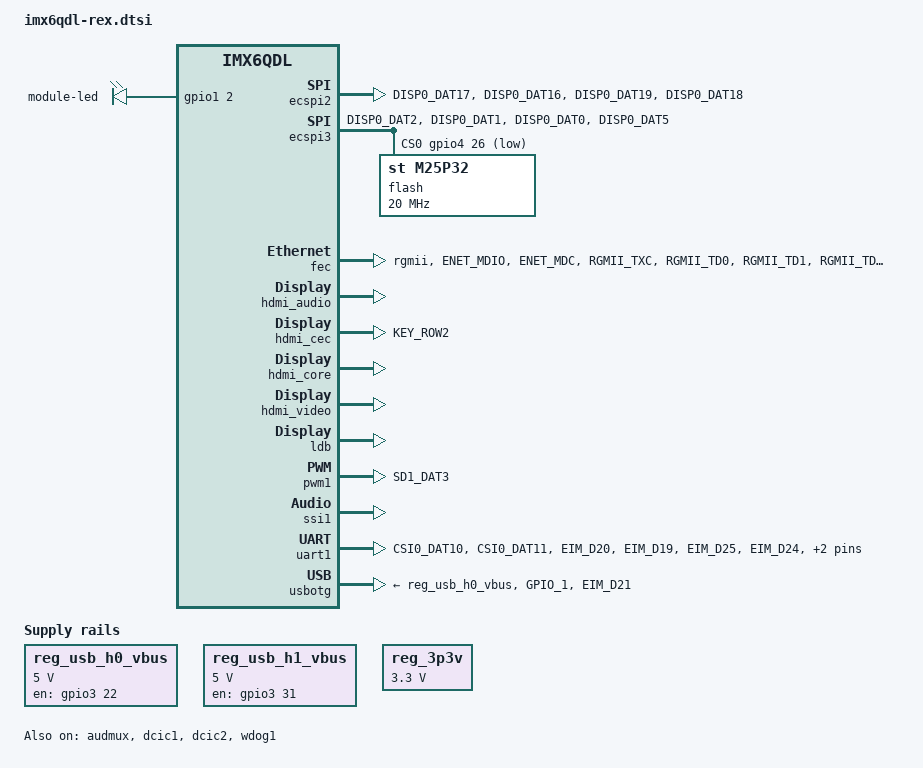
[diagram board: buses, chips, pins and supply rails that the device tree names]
/*
 * Copyright (C) 2015-2017 Voipac.
 *
 * The code contained herein is licensed under the GNU General Public
 * License. You may obtain a copy of the GNU General Public License
 * Version 2 or later at the following locations:
 *
 * http://www.opensource.org/licenses/gpl-license.html
 * http://www.gnu.org/copyleft/gpl.html
 */

#include <dt-bindings/gpio/gpio.h>
#include <dt-bindings/input/input.h>

/ {
	aliases {
		mxcfb0 = &mxcfb1;
		mxcfb1 = &mxcfb2;
		mxcfb2 = &mxcfb3;
		mxcfb3 = &mxcfb4;
	};

	chosen {
		stdout-path = &uart1;
	};

	leds {
		compatible = "gpio-leds";
		pinctrl-names = "default";
		pinctrl-0 = <&pinctrl_leds>;

		module-led {
			gpios = <&gpio1 2 GPIO_ACTIVE_HIGH>;
			linux,default-trigger = "heartbeat";
			retain-state-suspended;
		};
	};

	mxcfb1: fb@0 {
		compatible = "fsl,mxc_sdc_fb";
		disp_dev = "hdmi";
		interface_pix_fmt = "RGB24";
		mode_str ="1920x1080M@60";
		default_bpp = <24>;
		int_clk = <0>;
		late_init = <0>;
		status = "disabled";
	};

	mxcfb2: fb@1 {
		compatible = "fsl,mxc_sdc_fb";
		disp_dev = "ldb";
		interface_pix_fmt = "RGB666";
		default_bpp = <16>;
		int_clk = <0>;
		late_init = <0>;
		status = "disabled";
	};

	mxcfb3: fb@2 {
		compatible = "fsl,mxc_sdc_fb";
		disp_dev = "lcd";
		interface_pix_fmt = "RGB565";
		mode_str ="CLAA-WVGA";
		default_bpp = <16>;
		int_clk = <0>;
		late_init = <0>;
		status = "disabled";
	};

	mxcfb4: fb@3 {
		compatible = "fsl,mxc_sdc_fb";
		disp_dev = "ldb";
		interface_pix_fmt = "RGB666";
		default_bpp = <16>;
		int_clk = <0>;
		late_init = <0>;
		status = "disabled";
	};

	regulators {
		compatible = "simple-bus";
		#address-cells = <1>;
		#size-cells = <0>;

		reg_usb_h0_vbus: regulator@0 {
			compatible = "regulator-fixed";
			reg = <0>;
			regulator-name = "usb_otg_vbus";
			regulator-min-microvolt = <5000000>;
			regulator-max-microvolt = <5000000>;
			gpio = <&gpio3 22 GPIO_ACTIVE_HIGH>;
			enable-active-high;
		};

		reg_usb_h1_vbus: regulator@1 {
			compatible = "regulator-fixed";
			reg = <1>;
			regulator-name = "usb_h1_vbus";
			regulator-min-microvolt = <5000000>;
			regulator-max-microvolt = <5000000>;
			gpio = <&gpio3 31 GPIO_ACTIVE_HIGH>;
			enable-active-high;
		};

		reg_3p3v: 3p3v {
			compatible = "regulator-fixed";
			reg = <2>;
			regulator-name = "3P3V";
			regulator-min-microvolt = <3300000>;
			regulator-max-microvolt = <3300000>;
			regulator-always-on;
		};
	};

	sound-hdmi {
		compatible = "fsl,imx6q-audio-hdmi",
			     "fsl,imx-audio-hdmi";
		model = "imx-audio-hdmi";
		hdmi-controller = <&hdmi_audio>;
	};

	v4l2_out {
		compatible = "fsl,mxc_v4l2_output";
		status = "okay";
	};
};

&audmux {
	pinctrl-names = "default";
	pinctrl-0 = <&pinctrl_audmux>;
	status = "okay";
};

&clks {
	fsl,ldb-di0-parent = <&clks IMX6QDL_CLK_PLL5_VIDEO_DIV>;
	fsl,ldb-di1-parent = <&clks IMX6QDL_CLK_PLL2_PFD0_352M>;
};

&ecspi2 {
	fsl,spi-num-chipselects = <1>;
	cs-gpios = <&gpio5 12 GPIO_ACTIVE_LOW>;
	pinctrl-names = "default";
	pinctrl-0 = <&pinctrl_ecspi2>;
	status = "okay";
};

&ecspi3 {
	fsl,spi-num-chipselects = <1>;
	cs-gpios = <&gpio4 26 GPIO_ACTIVE_LOW>;
	pinctrl-names = "default";
	pinctrl-0 = <&pinctrl_ecspi3>;
	status = "okay";

	flash: m25p80@0 {
		#address-cells = <1>;
		#size-cells = <1>;
		compatible = "st,m25p32";
		spi-max-frequency = <20000000>;
		reg = <0>;
	};
};

&fec {
	pinctrl-names = "default";
	pinctrl-0 = <&pinctrl_enet>;
	phy-mode = "rgmii";
	phy-reset-gpios = <&gpio1 25 GPIO_ACTIVE_LOW>;
	fsl,magic-packet;
	status = "okay";
};

&i2c1 {
	clock-frequency = <100000>;
	pinctrl-names = "default";
	pinctrl-0 = <&pinctrl_i2c1>;
	status = "disabled";
};

&i2c2 {
	clock-frequency = <100000>;
	pinctrl-names = "default";
	pinctrl-0 = <&pinctrl_i2c2>;
	status = "disabled";
};

&i2c3 {
	clock-frequency = <100000>;
	pinctrl-names = "default";
	pinctrl-0 = <&pinctrl_i2c3>;
	status = "disabled";
};

&iomuxc {
	pinctrl-names = "default";
	pinctrl-0 = <&pinctrl_hog>;

	imx6qdl-rex {
		pinctrl_hog: hoggrp {
			fsl,pins = <
				MX6QDL_PAD_EIM_A17__GPIO2_IO21		0x80000000 /* Board variant 0 */
				MX6QDL_PAD_EIM_A16__GPIO2_IO22		0x80000000 /* Board variant 1 */
//				MX6QDL_PAD_EIM_A25__GPIO5_IO02		0x00000831 /* RSTOUT */
				MX6QDL_PAD_EIM_D22__GPIO3_IO22	 	0x80000000 /* USB0 Pwr */
				MX6QDL_PAD_EIM_D31__GPIO3_IO31		0x80000000 /* USB1 Pwr */
			>;
		};

		pinctrl_audmux: audmuxgrp {
			fsl,pins = <
				MX6QDL_PAD_CSI0_DAT7__AUD3_RXD		0x000130b0
				MX6QDL_PAD_CSI0_DAT4__AUD3_TXC		0x000130b0
				MX6QDL_PAD_CSI0_DAT5__AUD3_TXD		0x000110b0
				MX6QDL_PAD_CSI0_DAT6__AUD3_TXFS		0x000130b0
				MX6QDL_PAD_GPIO_0__CCM_CLKO1		0x000130b0 /* AUD3 Clk */
			>;
		};

		pinctrl_ecspi2: ecspi2grp {
			fsl,pins = <
				MX6QDL_PAD_DISP0_DAT17__ECSPI2_MISO	0x000100b1
				MX6QDL_PAD_DISP0_DAT16__ECSPI2_MOSI	0x000100b1
				MX6QDL_PAD_DISP0_DAT19__ECSPI2_SCLK	0x000100b1
				MX6QDL_PAD_DISP0_DAT18__GPIO5_IO12	0x80000000 /* CS0 */
			>;
		};

		pinctrl_ecspi3: ecspi3grp {
			fsl,pins = <
				MX6QDL_PAD_DISP0_DAT2__ECSPI3_MISO	0x000100b1
				MX6QDL_PAD_DISP0_DAT1__ECSPI3_MOSI	0x000100b1
				MX6QDL_PAD_DISP0_DAT0__ECSPI3_SCLK	0x000100b1
				MX6QDL_PAD_DISP0_DAT5__GPIO4_IO26	0x80000000 /* CS0 */
			>;
		};

		pinctrl_enet: enetgrp {
			fsl,pins = <
				MX6QDL_PAD_ENET_MDIO__ENET_MDIO		0x0001b0b0
				MX6QDL_PAD_ENET_MDC__ENET_MDC		0x0001b0b0
				MX6QDL_PAD_RGMII_TXC__RGMII_TXC		0x0001b0b0
				MX6QDL_PAD_RGMII_TD0__RGMII_TD0		0x0001b0b0
				MX6QDL_PAD_RGMII_TD1__RGMII_TD1		0x0001b0b0
				MX6QDL_PAD_RGMII_TD2__RGMII_TD2		0x0001b0b0
				MX6QDL_PAD_RGMII_TD3__RGMII_TD3		0x0001b0b0
				MX6QDL_PAD_RGMII_TX_CTL__RGMII_TX_CTL	0x0001b0b0
				MX6QDL_PAD_ENET_REF_CLK__ENET_TX_CLK	0x0001b0b0
				MX6QDL_PAD_RGMII_RXC__RGMII_RXC		0x0001b0b0
				MX6QDL_PAD_RGMII_RD0__RGMII_RD0		0x0001b0b0
				MX6QDL_PAD_RGMII_RD1__RGMII_RD1		0x0001b0b0
				MX6QDL_PAD_RGMII_RD2__RGMII_RD2		0x0001b0b0
				MX6QDL_PAD_RGMII_RD3__RGMII_RD3		0x0001b0b0
				MX6QDL_PAD_RGMII_RX_CTL__RGMII_RX_CTL	0x0001b0b0
				MX6QDL_PAD_ENET_TX_EN__GPIO1_IO28	0x80000000 /* PHY Int */
				MX6QDL_PAD_ENET_RXD1__GPIO1_IO26	0x80000000 /* PHY Int */
				MX6QDL_PAD_ENET_CRS_DV__GPIO1_IO25	0x00000831 /* PHY Reset */
			>;
		};

		pinctrl_hdmi_cec: hdmicecgrp {
			fsl,pins = <
				MX6QDL_PAD_KEY_ROW2__HDMI_TX_CEC_LINE	0x0001f8b0
			>;
		};

		pinctrl_i2c1: i2c1grp {
			fsl,pins = <
				MX6QDL_PAD_CSI0_DAT9__I2C1_SCL		0x4001b8b1
				MX6QDL_PAD_CSI0_DAT8__I2C1_SDA		0x4001b8b1
			>;
		};

		pinctrl_i2c2: i2c2grp {
			fsl,pins = <
				MX6QDL_PAD_KEY_COL3__I2C2_SCL		0x4001b8b1
				MX6QDL_PAD_KEY_ROW3__I2C2_SDA		0x4001b8b1
			>;
		};

		pinctrl_i2c3: i2c3grp {
			fsl,pins = <
				MX6QDL_PAD_EIM_D17__I2C3_SCL		0x4001b8b1
				MX6QDL_PAD_EIM_D18__I2C3_SDA		0x4001b8b1
			>;
		};

		pinctrl_leds: ledsgrp {
			fsl,pins = <
				MX6QDL_PAD_GPIO_2__GPIO1_IO02 		0x80000000 /* Module */
			>;
		};

		pinctrl_lvds: lvdsgrp {
			fsl,pins = <
				MX6QDL_PAD_NANDF_CS2__GPIO6_IO15	0x80000000 /* LVDS CABC */
//				MX6QDL_PAD_SD1_DAT3__GPIO1_IO21		0x80000000 /* LVDS Pwm */
			>;
		};

		pinctrl_pca9535: pca9535 {
			fsl,pins = <
				MX6QDL_PAD_NANDF_CS3__GPIO6_IO16	0x00017059 /* INT */
			>;
		};

		pinctrl_pcie: pciegrp {
			fsl,pins = <
				MX6QDL_PAD_CSI0_DATA_EN__GPIO5_IO20	0x00017059 /* Wake */
				MX6QDL_PAD_EIM_A25__GPIO5_IO02		0x00000831 /* Reset */
			>;
		};

		pinctrl_pwm1: pwm1grp {
			fsl,pins = <
				MX6QDL_PAD_SD1_DAT3__PWM1_OUT		0x0001b0b1
			>;
		};

		pinctrl_uart1: uart1grp {
			fsl,pins = <
				MX6QDL_PAD_CSI0_DAT10__UART1_TX_DATA	0x0001b0b1
				MX6QDL_PAD_CSI0_DAT11__UART1_RX_DATA	0x0001b0b1
				MX6QDL_PAD_EIM_D20__UART1_RTS_B		0x0001b0b1
				MX6QDL_PAD_EIM_D19__UART1_CTS_B		0x0001b0b1
				MX6QDL_PAD_EIM_D25__UART1_DSR_B		0x0001b0b1
				MX6QDL_PAD_EIM_D24__UART1_DTR_B		0x0001b0b1
				MX6QDL_PAD_EIM_D23__UART1_DCD_B		0x0001b0b1
				MX6QDL_PAD_EIM_EB3__UART1_RI_B		0x0001b0b1
			>;
		};

		pinctrl_uart2: uart2grp {
			fsl,pins = <
				MX6QDL_PAD_SD4_DAT7__UART2_TX_DATA	0x0001b0b1
				MX6QDL_PAD_SD4_DAT4__UART2_RX_DATA	0x0001b0b1
				MX6QDL_PAD_SD4_DAT5__UART2_RTS_B	0x0001b0b1
				MX6QDL_PAD_SD4_DAT6__UART2_CTS_B	0x0001b0b1
			>;
		};

		pinctrl_uart3: uart3grp {
			fsl,pins = <
				MX6QDL_PAD_EIM_D24__UART3_TX_DATA	0x0001b0b1
				MX6QDL_PAD_EIM_D25__UART3_RX_DATA	0x0001b0b1
				MX6QDL_PAD_EIM_EB3__UART3_RTS_B		0x0001b0b1
				MX6QDL_PAD_EIM_D23__UART3_CTS_B		0x0001b0b1
			>;
		};

		pinctrl_usbotg: usbotggrp {
			fsl,pins = <
				MX6QDL_PAD_GPIO_1__USB_OTG_ID		0x00017059
				MX6QDL_PAD_EIM_D21__USB_OTG_OC		0x00017059
			>;
		};

		pinctrl_usdhc2: usdhc2grp {
			fsl,pins = <
				MX6QDL_PAD_SD2_CMD__SD2_CMD		0x00017059
				MX6QDL_PAD_SD2_CLK__SD2_CLK		0x00010059
				MX6QDL_PAD_SD2_DAT0__SD2_DATA0		0x00017059
				MX6QDL_PAD_SD2_DAT1__SD2_DATA1		0x00017059
				MX6QDL_PAD_SD2_DAT2__SD2_DATA2		0x00017059
				MX6QDL_PAD_SD2_DAT3__SD2_DATA3		0x00017059
				MX6QDL_PAD_NANDF_D4__SD2_DATA4		0x00017059
				MX6QDL_PAD_NANDF_D5__SD2_DATA5		0x00017059
				MX6QDL_PAD_NANDF_D6__SD2_DATA6		0x00017059
				MX6QDL_PAD_NANDF_D7__SD2_DATA7		0x00017059
				MX6QDL_PAD_NANDF_D2__GPIO2_IO02		0x80000000 /* CD */
				MX6QDL_PAD_NANDF_D3__GPIO2_IO03		0x80000000 /* WP */
			>;
		};

		pinctrl_usdhc3: usdhc3grp {
			fsl,pins = <
				MX6QDL_PAD_SD3_CMD__SD3_CMD		0x00017059
				MX6QDL_PAD_SD3_CLK__SD3_CLK		0x00010059
				MX6QDL_PAD_SD3_DAT0__SD3_DATA0		0x00017059
				MX6QDL_PAD_SD3_DAT1__SD3_DATA1		0x00017059
				MX6QDL_PAD_SD3_DAT2__SD3_DATA2		0x00017059
				MX6QDL_PAD_SD3_DAT3__SD3_DATA3		0x00017059
				MX6QDL_PAD_NANDF_D0__GPIO2_IO00		0x80000000 /* CD */
			>;
		};

		pinctrl_tsc2007: tsc2007grp {
			fsl,pins = <
				MX6QDL_PAD_NANDF_WP_B__GPIO6_IO09	0x00000831 /* INT */
			>;
		};

		pinctrl_wdog: wdoggrp {
			fsl,pins = <
				MX6QDL_PAD_DISP0_DAT8__WDOG1_B		0x80000000
			>;
		};
	};
};

&dcic1 {
	dcic_id = <0>;
	dcic_mux = "dcic-hdmi";
	status = "okay";
};

&dcic2 {
	dcic_id = <1>;
	dcic_mux = "dcic-lvds1";
	status = "okay";
};

&gpc {
	fsl,ldo-bypass = <0>;
};

&hdmi_audio {
	status = "okay";
};

&hdmi_cec {
	pinctrl-names = "default";
	pinctrl-0 = <&pinctrl_hdmi_cec>;
	status = "okay";
};

&hdmi_core {
	ipu_id = <0>;
	disp_id = <0>;
	status = "okay";
};

&hdmi_video {
	fsl,phy_reg_vlev = <0x0294>;
	fsl,phy_reg_cksymtx = <0x800d>;
	status = "okay";
};

&ldb {
	status = "okay";

	lvds-channel@0 {
		fsl,data-mapping = "spwg";
		fsl,data-width = <18>;
		primary;
		status = "okay";

		display-timings {
			native-mode = <&timing0>;
			timing0: edt570 {
				clock-frequency = <25175000>;
				hactive = <640>;
				vactive = <480>;
				hback-porch = <114>;
				hfront-porch = <16>;
				vback-porch = <32>;
				vfront-porch = <10>;
				hsync-len = <30>;
				vsync-len = <3>;
				hsync-active = <0>;
				vsync-active = <0>;
				de-active = <1>;
				pixelclk-active = <1>;
			};
		};
	};

	lvds-channel@1 {
		fsl,data-mapping = "spwg";
		fsl,data-width = <18>;
		status = "okay";

		display-timings {
			native-mode = <&timing1>;
			timing1: edt570 {
				clock-frequency = <25175000>;
				hactive = <640>;
				vactive = <480>;
				hback-porch = <114>;
				hfront-porch = <16>;
				vback-porch = <32>;
				vfront-porch = <10>;
				hsync-len = <30>;
				vsync-len = <3>;
				hsync-active = <0>;
				vsync-active = <0>;
				de-active = <1>;
				pixelclk-active = <1>;
			};
		};
	};
};

&pcie {
	pinctrl-names = "default";
	pinctrl-0 = <&pinctrl_pcie>;
	reset-gpio = <&gpio5 2 GPIO_ACTIVE_HIGH>;
	status = "disabled";
};

&pwm1 {
	pinctrl-names = "default";
	pinctrl-0 = <&pinctrl_pwm1>;
	status = "okay";
};

&ssi1 {
	fsl,mode = "i2s-slave";
	status = "okay";
};

&uart1 {
	pinctrl-names = "default";
	pinctrl-0 = <&pinctrl_uart1>;
	status = "okay";
};

&uart2 {
	pinctrl-names = "default";
	pinctrl-0 = <&pinctrl_uart2>;
	status = "disabled";
};

&uart3 {
	pinctrl-names = "default";
	pinctrl-0 = <&pinctrl_uart3>;
	status = "disabled";
};

&usbh1 {
	vbus-supply = <&reg_usb_h1_vbus>;
	status = "disabled";
};

&usbotg {
	vbus-supply = <&reg_usb_h0_vbus>;
	pinctrl-names = "default";
	pinctrl-0 = <&pinctrl_usbotg>;
	disable-over-current;
	srp-disable;
	hnp-disable;
	adp-disable;
	status = "okay";
};

&usbphy1 {
	tx-d-cal = <0x5>;
};

&usbphy2 {
	tx-d-cal = <0x5>;
};

&usdhc2 {
	pinctrl-names = "default";
	pinctrl-0 = <&pinctrl_usdhc2>;
	bus-width = <4>;
	cd-gpios = <&gpio2 2 GPIO_ACTIVE_LOW>;
	wp-gpios = <&gpio2 3 GPIO_ACTIVE_HIGH>;
	no-1-8-v;
	keep-power-in-suspend;
	enable-sdio-wakeup;
	status = "disabled";
};

&usdhc3 {
	pinctrl-names = "default";
	pinctrl-0 = <&pinctrl_usdhc3>;
	bus-width = <4>;
	cd-gpios = <&gpio2 0 GPIO_ACTIVE_LOW>;
	non-removable;
	no-1-8-v;
	keep-power-in-suspend;
	status = "disabled";
};

&wdog1 {
	pinctrl-names = "default";
	pinctrl-0 = <&pinctrl_wdog>;
	status = "okay";
};

&wdog2 {
	status = "disabled";
};
